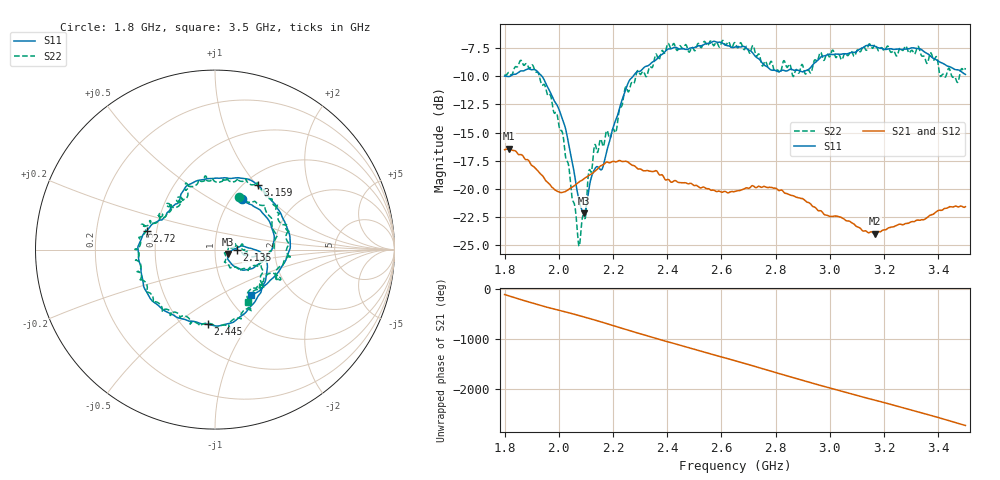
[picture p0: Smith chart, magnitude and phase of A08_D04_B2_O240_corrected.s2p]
! Created with skrf 1.9.0 (http://scikit-rf.org).
# Hz S RI R 50.0
!freq ReS11 ImS11 ReS21 ImS21 ReS12 ImS12 ReS22 ImS22
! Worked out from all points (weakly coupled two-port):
!   1601 points, 1.8 GHz to 3.5 GHz, reference 50 ohm
!   highest |S21| = -16.45 dB at 1.817 GHz (marker M1); lowest = -24.0 dB at 3.165 GHz (marker M2)
!   lowest |S11| = -22.2 dB at 2.092 GHz (marker M3), VSWR 1.17, Z = 57.9 - j2.82 ohm
!   |S11| at or under -10 dB: 1.806 GHz to 1.819 GHz (13.07 MHz wide, 0.721 % of centre); 1.938 GHz to 2.274 GHz (335.6 MHz wide, 15.9 % of centre)
!   |S22| runs from -25.1 to -6.8 dB; largest |S21 - S12| = 0.0024
!   S11 on the Smith chart (normalised r, x): 1.8 GHz: 1.12, +0.70; 2.135 GHz: 1.28, -0.00; 2.445 GHz: 0.66, -0.67; 2.72 GHz: 0.44, +0.11; 3.159 GHz: 1.14, +1.02; 3.5 GHz: 1.27, -0.72
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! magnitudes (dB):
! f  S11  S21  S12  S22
! 1.8 GHz  -10.0  -16.5  -16.5  -9.8
! 1.817 GHz  -10.0  -16.4  -16.5  -9.7
! 1.903 GHz  -9.4  -18.0  -18.0  -9.0
! 1.968 GHz  -11.4  -19.7  -19.7  -11.7
! 2.015 GHz  -13.9  -20.3  -20.3  -15.1
! 2.072 GHz  -20.7  -19.5  -19.5  -24.8
! 2.084 GHz  -21.8  -19.3  -19.2  -23.1
! 2.092 GHz  -22.2  -19.1  -19.2  -22.5
! 2.135 GHz  -18.2  -18.4  -18.4  -16.1
! 2.162 GHz  -18.1  -17.9  -17.8  -16.2
! 2.26 GHz  -10.4  -17.7  -17.7  -11.2
! 2.367 GHz  -8.3  -18.6  -18.6  -8.5
! 2.445 GHz  -7.6  -19.4  -19.4  -7.3
! 2.65 GHz  -7.4  -20.2  -20.2  -7.0
! 2.72 GHz  -8.1  -19.8  -19.7  -7.5
! 2.803 GHz  -9.5  -20.0  -20.0  -9.5
! 2.934 GHz  -9.1  -21.5  -21.5  -9.5
! 3.159 GHz  -7.3  -23.9  -23.9  -7.5
! 3.165 GHz  -7.3  -24.0  -23.9  -7.2
! 3.217 GHz  -7.6  -23.5  -23.4  -7.4
! 3.468 GHz  -9.4  -21.6  -21.5  -10.5
! 3.5 GHz  -9.8  -21.6  -21.6  -9.3
